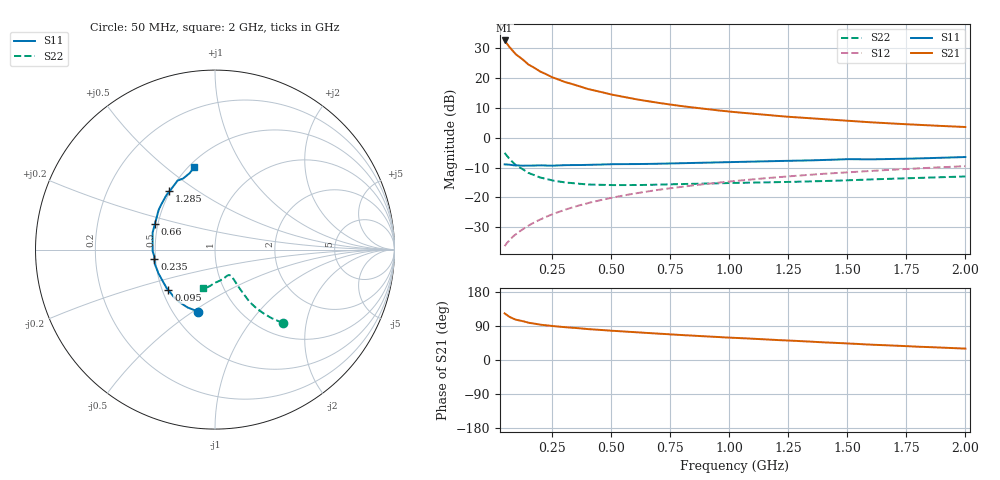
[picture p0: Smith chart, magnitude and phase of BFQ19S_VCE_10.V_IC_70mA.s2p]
! Infineon Technologies  Discrete & RF Semiconductors
! BFQ19S
! VCE =  10. V,  IC =  70 mA
! Common Emitter S-Parameters:  Jan 2016
# GHz  S  MA  R  50
!  f  S11  S21  S12  S22
! GHz  MAG  ANG  MAG  ANG  MAG  ANG  MAG  ANG
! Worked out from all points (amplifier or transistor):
!   391 points, 50 MHz to 2 GHz, reference 50 ohm
!   highest |S21| = 32.5 dB at 50 MHz (marker M1)
!   |S21| within 3 dB of that: start of sweep to 79.06 MHz
!   unconditionally stable (mu >= 1): 240.2 MHz to 1.499 GHz; 1.504 GHz to 1.698 GHz
!   at 375 MHz: K = 1.02, MAG = 18.8 dB, |S12| = -22.5 dB
!   at 1.025 GHz: K = 1.03, MAG = 10.4 dB, |S12| = -14.5 dB
!   at 2 GHz: K = 0.97, MSG = 6.6 dB, |S12| = -9.5 dB
!   S11 on the Smith chart (normalised r, x): 50 MHz: 0.66, -0.52; 95 MHz: 0.54, -0.28; 235 MHz: 0.49, -0.06; 660 MHz: 0.48, +0.16; 1.285 GHz: 0.49, +0.39; 2 GHz: 0.53, +0.63
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0.05  0.3579 -105.3  42.34 123.0  0.0153 66.0  0.5565 -47.2
0.06  0.3568 -115.3  37.26 118.1  0.0173 66.0  0.4944 -50.5
0.07  0.3536 -124.1  33.07 114.1  0.0192 65.9  0.4446 -52.8
0.08  0.3504 -130.6  29.66 110.8  0.0211 66.3  0.4038 -54.6
0.09  0.3447 -136.4  26.81 108.2  0.023 67.3  0.3699 -55.8
0.095  0.3445 -138.8  25.6 107.1  0.0237 68.0  0.3558 -56.2
0.1  0.3449 -141.2  24.39 105.9  0.0245 68.6  0.3417 -56.6
0.15  0.3414 -156.4  16.83 98.3  0.0336 70.8  0.258 -57.7
0.2  0.3451 -166.6  12.82 93.3  0.0426 72.6  0.216 -57.7
0.235  0.3411 -171.2  11.07 91.0  0.0491 73.2  0.1995 -57.8
0.25  0.34 -173.2  10.32 89.7  0.0519 73.4  0.1924 -57.9
0.3  0.3475 -178.5  8.662 86.7  0.0612 73.6  0.179 -58.1
0.375  0.3488 174.9  7.072 83.2  0.0753 73.3  0.1682 -59.3
0.4  0.3503 172.7  6.55 81.7  0.08 73.2  0.1646 -59.7
0.5  0.3604 164.9  5.29 77.3  0.0982 72.3  0.161 -62.2
0.66  0.364 156.8  4.068 71.2  0.1269 70.0  0.1625 -67.8
0.7  0.3661 154.8  3.828 69.6  0.134 69.6  0.1639 -69.2
1.03  0.3927 138.7  2.667 58.2  0.1895 64.3  0.1751 -81.1
1.285  0.4122 128.0  2.189 50.4  0.2305 60.1  0.183 -88.7
1.35  0.4176 125.1  2.1 48.3  0.2408 59.1  0.1853 -90.5
1.675  0.439 111.9  1.742 38.6  0.289 53.6  0.2049 -98.1
2  0.4745 104.1  1.508 30.0  0.3337 48.5  0.2243 -106.8
